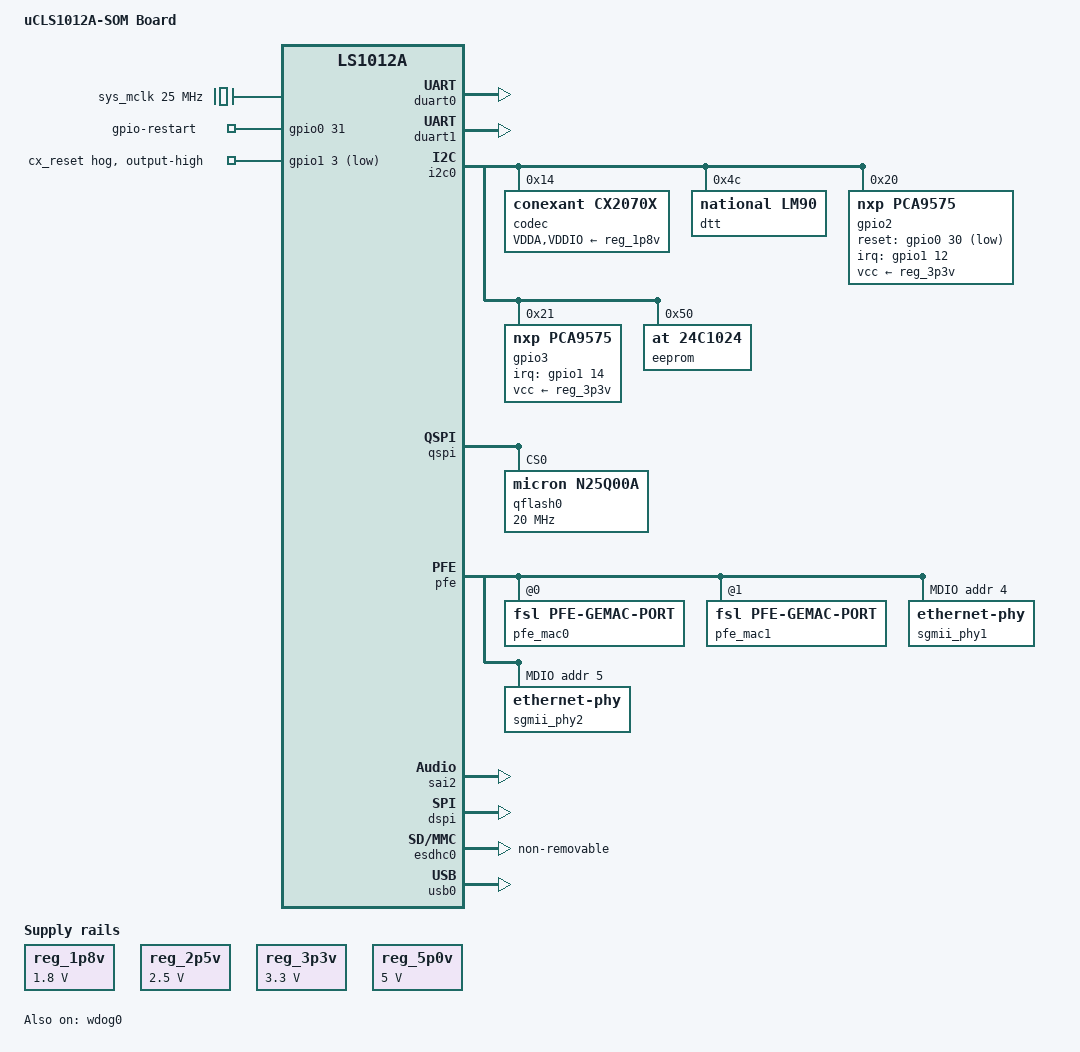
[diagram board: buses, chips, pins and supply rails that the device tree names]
// SPDX-License-Identifier: (GPL-2.0+ OR MIT)
/*
 * Device Tree Include file for Arcturus uCLS1012A-SOM.
 *
 * Copyright 2017-2021, Arcturus Networks Inc.
 *
 */
/dts-v1/;

#define RESET_BY_GPIO 1
#define ENABLE_EXTERNAL_WATCHDOG_PING 0

#include "ucls1012a.dtsi"

/ {
	model = "uCLS1012A-SOM Board";
	compatible = "fsl,ls1012a";

	aliases {
		ethernet0 = &pfe_mac0;
		ethernet1 = &pfe_mac1;
	};

	sys_mclk: clock-mclk {
		compatible = "fixed-clock";
		#clock-cells = <0>;
		clock-frequency = <25000000>;
	};
#if RESET_BY_GPIO
	gpio-restart {
		compatible = "gpio-restart";
		/* gpios = <&gpio0 30 GPIO_ACTIVE_HIGH>; For modules Rev. < 1,4 */
		gpios = <&gpio0 31 GPIO_ACTIVE_HIGH>;
		open-source;
		priority = <200>;
	};
#endif

	reg_1p8v: regulator-1p8v {
		compatible = "regulator-fixed";
		regulator-name = "1P8V";
		regulator-min-microvolt = <1800000>;
		regulator-max-microvolt = <1800000>;
		regulator-always-on;
	};

	reg_2p5v: regulator-2p5v {
		compatible = "regulator-fixed";
		regulator-name = "2P5V";
		regulator-min-microvolt = <2500000>;
		regulator-max-microvolt = <2500000>;
		regulator-always-on;
	};

	reg_3p3v: regulator-3p3v {
		compatible = "regulator-fixed";
		regulator-name = "3P3V";
		regulator-min-microvolt = <3300000>;
		regulator-max-microvolt = <3300000>;
		regulator-always-on;
	};

	reg_5p0v: regulator-5p0v {
		compatible = "regulator-fixed";
		regulator-name = "5P0V";
		regulator-min-microvolt = <5000000>;
		regulator-max-microvolt = <5000000>;
		regulator-always-on;
	};

	sound {
		compatible = "simple-audio-card";
		simple-audio-card,format = "i2s";
		simple-audio-card,widgets =
			"Line", "Line In Jack",
			"Line", "Line Out Jack";
		simple-audio-card,routing =
			"LINEIN1", "Line In Jack",
			"LINEIN2", "Line In Jack",
			"Line Out Jack", "LINEOUT";
		simple-audio-card,cpu {
			sound-dai = <&sai2>;
			frame-master;
			bitclock-master;
		};
		simple-audio-card,codec {
			sound-dai = <&codec>;
			frame-master;
			bitclock-master;
			system-clock-frequency = <25000000>;
		};
	};

#if ENABLE_EXTERNAL_WATCHDOG_PING
	xwatchdog: xwatchdog {
		compatible = "linux,wdt-gpio";
		gpios = <&gpio0 25 GPIO_ACTIVE_HIGH>;
		hw_algo = "toggle";
		hw_margin_ms = <1000>;
		always-running;
		status = "okay";
	};
#endif

	leds {
		compatible = "gpio-leds";
		status = "okay";
	};

	gpio-keys {
		compatible = "gpio-keys";
		status = "okay";
	};
};

&pcie {
	status = "disabled";
};

&duart0 {
	status = "okay";
};

&duart1 {
	status = "okay";
};

&i2c0 {
	status = "okay";

	codec: cx2070x@14 {
		#sound-dai-cells = <0>;
		compatible = "conexant,cx2070x";
		reg = <0x14>;
		clocks = <&sys_mclk>;
		VDDA-supply = <&reg_1p8v>;
		VDDIO-supply = <&reg_1p8v>;
	};

	dtt@4c {
		compatible = "national,lm90";
		reg = <0x4C>;
	};

	/* U23 */
	gpio2: pca9575@20 {
		compatible = "nxp,pca9575";
		reg =<0x20>;

		/* GPIO pin base & pin0# = 432 */
		gpio-controller;
		#gpio-cells = <2>;

		interrupt-controller;
		#interrupt-cells = <2>;
		interrupt-parent = <&gpio1>;
		interrupts = <12 IRQ_TYPE_EDGE_FALLING>;
		vcc-supply = <&reg_3p3v>;

		reset-gpios = <&gpio0 30 GPIO_ACTIVE_LOW>;

		gpio-line-names = "IN1",
				  "IN2",
				  "IN3",
				  "IN4",
				  "IN5",
				  "IN6",
				  "IN7",
				  "IN8",
				  "OUT1",
				  "OUT2",
				  "OUT3",
				  "OUT4",
				  "OUT5",
				  "OUT6",
				  "OUT7",
				  "OUT8";
	};

	/* U13 */
	gpio3: pca9575@21 {
		compatible = "nxp,pca9575";
		reg =<0x21>;

		/* GPIO pin base & pin0# = 416 */
		gpio-controller;
		#gpio-cells = <2>;

		interrupt-controller;
		#interrupt-cells = <2>;
		interrupt-parent = <&gpio1>;
		interrupts = <14 IRQ_TYPE_EDGE_FALLING>;
		vcc-supply = <&reg_3p3v>;
	};

	eeprom@50 {
		compatible = "at,24c1024";
		reg = <0x50>;
	};
};

&qspi {
	num-cs = <1>;
	bus-num = <0>;
	status = "okay";

	qflash0: n25q00a@0 {
		compatible = "micron,n25q00a", "jedec,spi-nor";
		#address-cells = <1>;
		#size-cells = <1>;
		m25p,fast-read;
		spi-max-frequency = <20000000>;
		reg = <0>;
	};
};

&pfe {
	status = "okay";
	#address-cells = <1>;
	#size-cells = <0>;

	pfe_mac0: ethernet@0 {
		compatible = "fsl,pfe-gemac-port";
		#address-cells = <1>;
		#size-cells = <0>;
		reg = <0x0>;	/* GEM_ID */
		fsl,gemac-bus-id = <0x0>;	/* BUS_ID */
		fsl,mdio-mux-val = <0x0>;
		phy-mode = "sgmii";
		phy-handle = <&sgmii_phy1>;
	};

	pfe_mac1: ethernet@1 {
		compatible = "fsl,pfe-gemac-port";
		#address-cells = <1>;
		#size-cells = <0>;
		reg = <0x1>;	/* GEM_ID */
		fsl,mdio-mux-val = <0x0>;
		phy-mode = "sgmii";
		phy-handle = <&sgmii_phy2>;
	};

	mdio@0 {
		#address-cells = <1>;
		#size-cells = <0>;

		sgmii_phy1: ethernet-phy@4 {
			reg = <0x4>;
			max-speed = <100>;
		};

		sgmii_phy2: ethernet-phy@5 {
			reg = <0x5>;
			max-speed = <100>;
		};
	};
};

&sai2 {
	status = "okay";
};

&dspi {
	bus-num = <0>;
	status = "okay";
};

&esdhc0 {
	non-removable;
	status = "okay";
};

&usb0 {
	status = "okay";
};

&wdog0 {
	status = "okay";
};

&usb1 {
	status = "disabled";
};

&gpio0 {
	ngpios = <32>;
	gpio-line-names =	"UART1_SOUT",
				"UART1_SIN",
				"IIC1_SCL",
				"IIC1_SDA",
				"QSPI_A_SCK",
				"QSPI_A_CS0",
				"UART2_SIN",
				"UART2_RTS_B",
				"UART2_SOUT",
				"UART2_CTS_B",
				"GPIO1_10",
				"QSPI_A_DATA0",
				"QSPI_A_DATA1",
				"QSPI_A_DATA2",
				"QSPI_A_DATA3",
				"SHDC1_CMD",
				"SHDC1_DAT0",
				"SHDC1_DAT1",
				"SHDC1_DAT2",
				"SHDC1_DAT3",
				"SHDC1_CLK",
				"GPIO1_21", 	/* SDHC1_CD_B better not to use */
				"GPIO1_22", 	/* SDHC1_WP better not to use */
				"SDHC1_VSEL",
				"SPI_MOSI",
				"SPI_CS0_B",
				"SPI_CS1_B",
				"SPI_CS2_B",
				"SPI_MISO",
				"SPI_CLK",
				"GPIO_EXP_RST",
				"MODULE_RST";
};

&gpio1 {
	ngpios = <32>;
	gpio-line-names =	"USB1_DRVVBUS",
				"USB1_PWR_FAULT",
				"PHY_A_IRQ",
				"CX_RST",
				"SAI2_TX_DATA",
				"SAI2_RX_DATA",
				"SAI2_TX_SYNC",
				"SAI2_TX_BCLK",
				"reserved",
				"SAI2_RX_SYNC",
				"SAI2_RX_BCLK",
				"KWZ_48",
				"GPIO_EXP_IRQ0",
				"PHY_B_IRQ",
				"GPIO_EXP_IRQ1",
				"EMI1_MDC",
				"EMI1_MDIO",
				"TMP_DETECT_N",
				"reserved",
				"reserved",
				"reserved",
				"reserved",
				"reserved",
				"reserved",
				"reserved",
				"reserved",
				"reserved",
				"reserved",
				"reserved",
				"reserved",
				"reserved",
				"reserved";

	cx_rst {
		gpio-hog;
		gpios = <3 GPIO_ACTIVE_LOW>;
		output-high;
		line-name = "cx_reset";
	};
};

